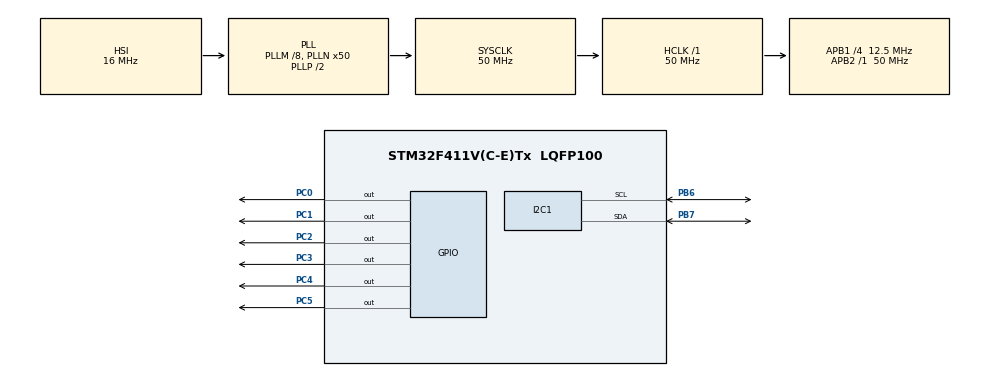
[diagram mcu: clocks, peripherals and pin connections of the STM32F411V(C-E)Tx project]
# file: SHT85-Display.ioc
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Mcu.Family=STM32F4
Mcu.Name=STM32F411V(C-E)Tx
Mcu.Package=LQFP100
NVIC.PriorityGroup=NVIC_PRIORITYGROUP_0
PB6.GPIO_Pu=GPIO_PULLUP
PB6.Mode=I2C
PB6.Signal=I2C1_SCL
PB7.GPIO_Pu=GPIO_PULLUP
PB7.Mode=I2C
PB7.Signal=I2C1_SDA
PC0.Signal=GPIO_Output
PC1.Signal=GPIO_Output
PC2.Signal=GPIO_Output
PC3.Signal=GPIO_Output
PC4.Signal=GPIO_Output
PC5.Signal=GPIO_Output
ProjectManager.HeapSize=0x200
ProjectManager.StackSize=0x400
ProjectManager.TargetToolchain=STM32CubeIDE
RCC.48MHZClocksFreq_Value=12500000
RCC.AHBFreq_Value=50000000
RCC.APB1CLKDivider=RCC_HCLK_DIV4
RCC.APB1Freq_Value=12500000
RCC.APB1TimFreq_Value=25000000
RCC.APB2Freq_Value=50000000
RCC.APB2TimFreq_Value=50000000
RCC.CortexFreq_Value=50000000
RCC.HCLKFreq_Value=50000000
RCC.HSE_VALUE=8000000
RCC.HSI_VALUE=16000000
RCC.LSE_VALUE=32768
RCC.PLLI2SM=5
RCC.PLLI2SN=200
RCC.PLLM=8
RCC.PLLN=50
RCC.PLLQ=8
RCC.SYSCLKFreq_VALUE=50000000
RCC.SYSCLKSource=RCC_SYSCLKSOURCE_PLLCLK
RCC.VCOOutputFreq_Value=100000000
board=STM32F411E-DISCO

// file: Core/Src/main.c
/* USER CODE BEGIN Header */
/**
  ******************************************************************************
  * @file           : main.c
  * @brief          : Main program body
  ******************************************************************************
  * @attention
  *
  * Copyright (c) 2025 STMicroelectronics.
  * All rights reserved.
  *
  * This software is licensed under terms that can be found in the LICENSE file
  * in the root directory of this software component.
  * If no LICENSE file comes with this software, it is provided AS-IS.
  *
  ******************************************************************************
  */
/* USER CODE END Header */
#include "main.h"

/* USER CODE BEGIN Includes */
#include <stdio.h>
#include <stdbool.h>
#include "lcd.h"
#include "sht85.h"
/* USER CODE END Includes */

I2C_HandleTypeDef hi2c1;

/* USER CODE BEGIN PV */

// Variables USUARIO INICIO. Para ajustar tiempos de muestreo de temperatura
uint16_t samplingPeriod = 20; // tiempo de muestreo de temperaturas (en ms)
uint16_t averagePeriod = 2; // tiempo deseado para calcular las temperaturas medias (en segundos)
bool alarmWithActualTemp = true; // TRUE: alarma se detecta mas rapido (con temp actual). FALSE: alarma se detecta mas lento (con temp media, se espera a leer varios datos)
// Variables USUARIO FIN

/* USER CODE END PV */

void SystemClock_Config(void);
static void MX_GPIO_Init(void);
static void MX_I2C1_Init(void);
/* USER CODE BEGIN PFP */
const char* floatToStr(float num, int precision) {
    static char str[20]; // Buffer estático para almacenar la cadena resultante
    sprintf(str, "%.*f", precision, num);
    return str;
}
/* USER CODE END PFP */

int main(void)
{

  /* MCU Configuration--------------------------------------------------------*/

  /* Reset of all peripherals, Initializes the Flash interface and the Systick. */
  HAL_Init();

  /* Configure the system clock */
  SystemClock_Config();

  /* Initialize all configured peripherals */
  MX_GPIO_Init();
  MX_I2C1_Init();
  /* USER CODE BEGIN 2 */

  // SENSOR SHT85 TEMPERATURA INICIO
  lastTimeSHT = HAL_GetTick();
  lastTimeIncreasingLight = HAL_GetTick();
  // SENSOR SHT85 TEMPERATURA FIN

  // DISPLAY INICIO
  int precision = 4;
  LCD_Init();
  LCD_Clear();
  LCD_Print("HELLO");
  LCD_SetCursor(1, 0);
  LCD_Print("HELLO");
  HAL_Delay(3000);
  LCD_Clear();

  // DISPLAY FINAL

	/* USER CODE END 2 */

    /* Infinite loop */
    /* USER CODE BEGIN WHILE */
    while (1)
    {
    	// SENSOR SHT85 TEMPERATURA INICIO
    	if (HAL_GetTick() - lastTimeSHT >= samplingPeriod) {
    	    lastTimeSHT = HAL_GetTick(); // Se actualiza referencia
    	    ReadSHT85(&temperature, &humidity); // Leer sensores
    	    calculatorAverageTemperature(temperature); // Se calculan temperaturas medias
    	    float temperatureToCheck = alarmWithActualTemp ? temperature : averageTemperature;
    	    alarm = setAlarm(temperatureToCheck); // Verificar alarma. Si se quiere controlar la alarma con la temperatura media. Se activa más tarde
    	}
    	if (!alarm) {
    	    if (HAL_GetTick() - lastTimeIncreasingLight >= 20) {
    	        lastTimeIncreasingLight = HAL_GetTick();
    	        if (increasingLight) {
    	            duty -= 50; // Decrementar el ciclo de trabajo (lógica inversa)
    	            if (duty <= 0) {
    	                duty = 0;
    	                increasingLight = false; // Cambiar dirección
    	            }
    	        } else {
    	            duty += 50; // Incrementar el ciclo de trabajo
    	            if (duty >= 1000) {
    	                duty = 1000;
    	                increasingLight = true; // Cambiar dirección
    	            }
    	        }
    	        //__HAL_TIM_SET_COMPARE(&htim2, TIM_CHANNEL_2, duty); // Ajusta el ciclo de trabajo del led rojo
    	    }
    	    HAL_GPIO_WritePin(GPIOD, GPIO_PIN_13, GPIO_PIN_SET); // Encender led
    	} else {
    	    HAL_GPIO_WritePin(GPIOD, GPIO_PIN_13, GPIO_PIN_RESET); // Apagar led
    	}
    	// SENSOR SHT85 TEMPERATURA FIN

    	 // DISPLAY INICIO
    	    const char* strTemp = floatToStr(temperature, precision);
    	    LCD_Clear();
    	    LCD_SetCursor(0, 0);
    	    LCD_Print("Temperatura: ");
    	    LCD_SetCursor(1, 0);
    	    LCD_Print(strTemp);
    	    //LCD_Print("22.7");
    	    HAL_Delay(1000);
    	    // DISPLAY FINAL

      /* USER CODE END WHILE */

    }
}

void SystemClock_Config(void)
{
  RCC_OscInitTypeDef RCC_OscInitStruct = {0};
  RCC_ClkInitTypeDef RCC_ClkInitStruct = {0};

  /** Configure the main internal regulator output voltage
  */
  __HAL_RCC_PWR_CLK_ENABLE();
  __HAL_PWR_VOLTAGESCALING_CONFIG(PWR_REGULATOR_VOLTAGE_SCALE1);

  /** Initializes the RCC Oscillators according to the specified parameters
  * in the RCC_OscInitTypeDef structure.
  */
  RCC_OscInitStruct.OscillatorType = RCC_OSCILLATORTYPE_HSI;
  RCC_OscInitStruct.HSIState = RCC_HSI_ON;
  RCC_OscInitStruct.HSICalibrationValue = RCC_HSICALIBRATION_DEFAULT;
  RCC_OscInitStruct.PLL.PLLState = RCC_PLL_ON;
  RCC_OscInitStruct.PLL.PLLSource = RCC_PLLSOURCE_HSI;
  RCC_OscInitStruct.PLL.PLLM = 8;
  RCC_OscInitStruct.PLL.PLLN = 50;
  RCC_OscInitStruct.PLL.PLLP = RCC_PLLP_DIV2;
  RCC_OscInitStruct.PLL.PLLQ = 8;
  if (HAL_RCC_OscConfig(&RCC_OscInitStruct) != HAL_OK)
  {
    Error_Handler();
  }

  /** Initializes the CPU, AHB and APB buses clocks
  */
  RCC_ClkInitStruct.ClockType = RCC_CLOCKTYPE_HCLK|RCC_CLOCKTYPE_SYSCLK
                              |RCC_CLOCKTYPE_PCLK1|RCC_CLOCKTYPE_PCLK2;
  RCC_ClkInitStruct.SYSCLKSource = RCC_SYSCLKSOURCE_PLLCLK;
  RCC_ClkInitStruct.AHBCLKDivider = RCC_SYSCLK_DIV1;
  RCC_ClkInitStruct.APB1CLKDivider = RCC_HCLK_DIV4;
  RCC_ClkInitStruct.APB2CLKDivider = RCC_HCLK_DIV1;

  if (HAL_RCC_ClockConfig(&RCC_ClkInitStruct, FLASH_LATENCY_1) != HAL_OK)
  {
    Error_Handler();
  }
}

static void MX_I2C1_Init(void)
{

  hi2c1.Instance = I2C1;
  hi2c1.Init.ClockSpeed = 100000;
  hi2c1.Init.DutyCycle = I2C_DUTYCYCLE_2;
  hi2c1.Init.OwnAddress1 = 0;
  hi2c1.Init.AddressingMode = I2C_ADDRESSINGMODE_7BIT;
  hi2c1.Init.DualAddressMode = I2C_DUALADDRESS_DISABLE;
  hi2c1.Init.OwnAddress2 = 0;
  hi2c1.Init.GeneralCallMode = I2C_GENERALCALL_DISABLE;
  hi2c1.Init.NoStretchMode = I2C_NOSTRETCH_DISABLE;
  if (HAL_I2C_Init(&hi2c1) != HAL_OK)
  {
    Error_Handler();
  }

}

static void MX_GPIO_Init(void)
{
  GPIO_InitTypeDef GPIO_InitStruct = {0};

  /* GPIO Ports Clock Enable */
  __HAL_RCC_GPIOC_CLK_ENABLE();
  __HAL_RCC_GPIOB_CLK_ENABLE();

  /*Configure GPIO pin Output Level */
  HAL_GPIO_WritePin(GPIOC, GPIO_PIN_0|GPIO_PIN_1|GPIO_PIN_2|GPIO_PIN_3
                          |GPIO_PIN_4|GPIO_PIN_5, GPIO_PIN_RESET);

  /*Configure GPIO pins : PC0 PC1 PC2 PC3
                           PC4 PC5 */
  GPIO_InitStruct.Pin = GPIO_PIN_0|GPIO_PIN_1|GPIO_PIN_2|GPIO_PIN_3
                          |GPIO_PIN_4|GPIO_PIN_5;
  GPIO_InitStruct.Mode = GPIO_MODE_OUTPUT_PP;
  GPIO_InitStruct.Pull = GPIO_NOPULL;
  GPIO_InitStruct.Speed = GPIO_SPEED_FREQ_LOW;
  HAL_GPIO_Init(GPIOC, &GPIO_InitStruct);

}

void Error_Handler(void)
{
  __disable_irq();
  while (1)
  {
  }
}
